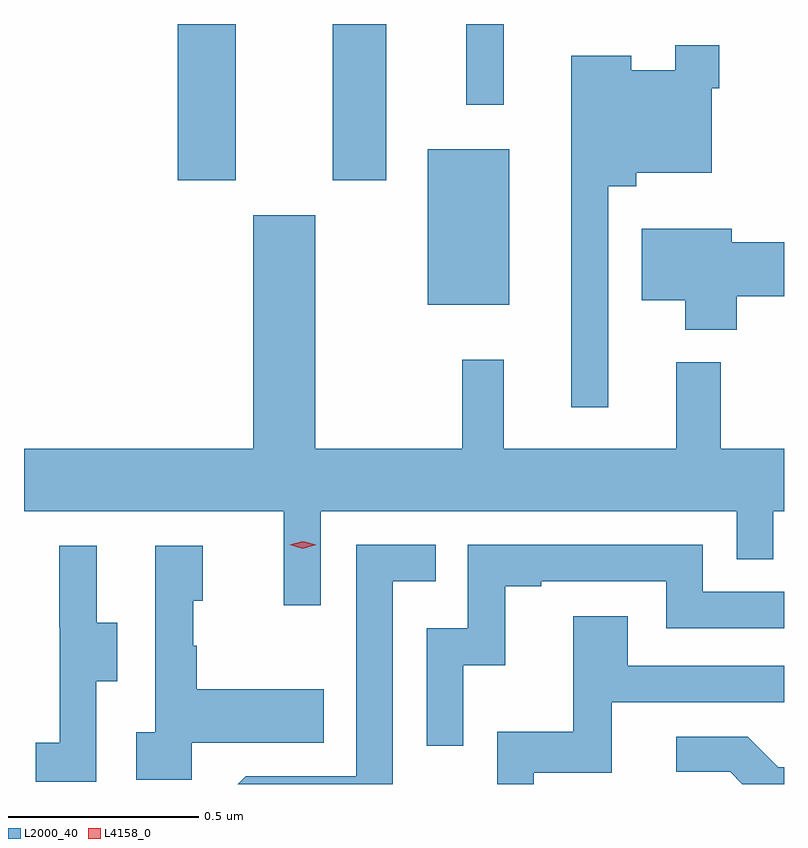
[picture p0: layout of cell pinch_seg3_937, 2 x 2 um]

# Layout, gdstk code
import gdstk
lib = gdstk.Library(unit=1e-6, precision=1e-09)
def R(c, l, rs):  # rectangles x0, y0, x1, y1
    for r in rs: c.add(gdstk.rectangle(r[:2], r[2:], *l))
def P(c, l, *ps):  # polygons
    for p in ps: c.add(gdstk.Polygon(p, *l))
L2000_40 = (2000, 40)
L4158_0 = (4158, 0)

pinch_seg3_937 = lib.new_cell('pinch_seg3_937')
R(pinch_seg3_937, L2000_40, [(888.854,676.151,889.069,676.561), (888.197,676.479,888.349,676.89), (888.605,676.479,888.745,676.89), (888.956,676.677,889.054,676.89)])
P(pinch_seg3_937, L2000_40, [(889.329,676.463),(889.403,676.463),(889.403,676.499),(889.602,676.499),(889.602,676.721),(889.622,676.721),(889.622,676.834),(889.506,676.834),(889.506,676.768),(889.39,676.768),(889.39,676.807),(889.232,676.807),(889.232,675.882),(889.329,675.882)],
  [(888.573,675.608),(889.668,675.608),(889.668,675.481),(889.764,675.481),(889.764,675.608),(889.792,675.608),(889.792,675.772),(889.625,675.772),(889.625,676),(889.508,676),(889.508,675.772),(889.055,675.772),(889.055,676.006),(888.945,676.006),(888.945,675.772),(888.559,675.772),(888.559,676.387),(888.395,676.387),(888.395,675.772),(887.792,675.772),(887.792,675.608),(888.476,675.608),(888.476,675.36),(888.573,675.36)],
  [(889.667,676.174),(889.792,676.174),(889.792,676.316),(889.654,676.316),(889.654,676.351),(889.418,676.351),(889.418,676.163),(889.532,676.163),(889.532,676.085),(889.667,676.085)],
  [(888.948,675.203),(889.058,675.203),(889.058,675.411),(889.153,675.411),(889.153,675.423),(889.482,675.423),(889.482,675.3),(889.792,675.3),(889.792,675.396),(889.578,675.396),(889.578,675.519),(888.96,675.519),(888.96,675.3),(888.852,675.3),(888.852,674.991),(888.948,674.991)],
  [(888.762,675.423),(888.875,675.423),(888.875,675.519),(888.666,675.519),(888.666,674.91),(888.375,674.91),(888.355,674.89),(888.762,674.89)],
  [(888.234,674.999),(888.581,674.999),(888.581,675.139),(888.247,675.139),(888.247,675.254),(888.237,675.254),(888.237,675.372),(888.262,675.372),(888.262,675.517),(888.138,675.517),(888.138,675.026),(888.087,675.026),(888.087,674.901),(888.234,674.901)],
  [(887.982,675.16),(888.037,675.16),(888.037,675.315),(887.983,675.315),(887.983,675.517),(887.885,675.517),(887.885,675.303),(887.886,675.303),(887.886,674.999),(887.823,674.999),(887.823,674.896),(887.982,674.896)],
  [(889.134,674.919),(889.339,674.919),(889.339,675.105),(889.792,675.105),(889.792,675.201),(889.381,675.201),(889.381,675.331),(889.237,675.331),(889.237,675.028),(889.038,675.028),(889.038,674.89),(889.134,674.89)],
  [(889.792,674.934),(889.777,674.934),(889.696,675.015),(889.509,675.015),(889.509,674.922),(889.65,674.922),(889.682,674.89),(889.792,674.89)])
P(pinch_seg3_937, L4158_0, [(888.526,675.509),(888.491,675.519),(888.491,675.519),(888.491,675.519),(888.526,675.529),(888.561,675.519),(888.561,675.519),(888.561,675.519)])

lib.write_gds('pinch_seg3_937.gds')
